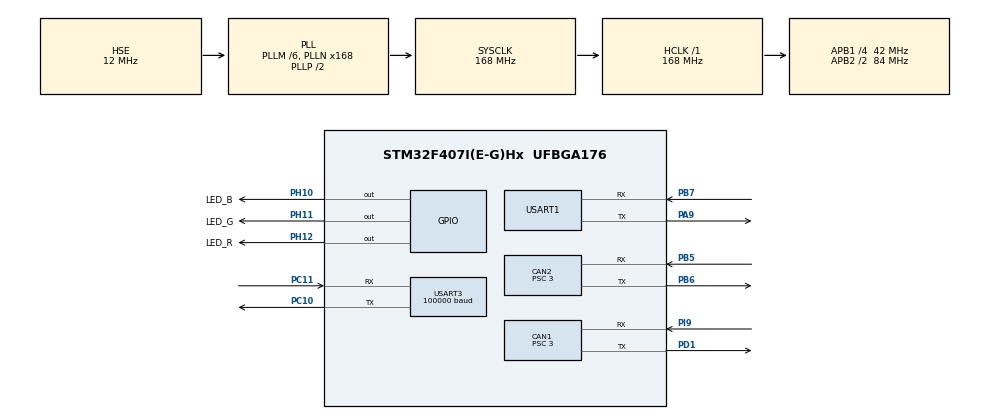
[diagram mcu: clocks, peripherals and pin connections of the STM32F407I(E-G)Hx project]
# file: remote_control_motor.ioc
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CAN1.BS1=CAN_BS1_10TQ
CAN1.BS2=CAN_BS2_3TQ
CAN1.CalculateBaudRate=1000000
CAN1.CalculateTimeBit=999.99
CAN1.CalculateTimeQuantum=71.42857142857143
CAN1.Prescaler=3
CAN2.BS1=CAN_BS1_10TQ
CAN2.BS2=CAN_BS2_3TQ
CAN2.CalculateBaudRate=1000000
CAN2.CalculateTimeBit=999.99
CAN2.CalculateTimeQuantum=71.42857142857143
CAN2.Prescaler=3
Dma.Request0=USART1_TX
Dma.Request1=USART3_RX
Dma.USART1_TX.0.Direction=DMA_MEMORY_TO_PERIPH
Dma.USART1_TX.0.FIFOMode=DMA_FIFOMODE_DISABLE
Dma.USART1_TX.0.Instance=DMA2_Stream7
Dma.USART1_TX.0.MemDataAlignment=DMA_MDATAALIGN_BYTE
Dma.USART1_TX.0.MemInc=DMA_MINC_ENABLE
Dma.USART1_TX.0.Mode=DMA_NORMAL
Dma.USART1_TX.0.PeriphDataAlignment=DMA_PDATAALIGN_BYTE
Dma.USART1_TX.0.PeriphInc=DMA_PINC_DISABLE
Dma.USART1_TX.0.Priority=DMA_PRIORITY_VERY_HIGH
Dma.USART3_RX.1.Direction=DMA_PERIPH_TO_MEMORY
Dma.USART3_RX.1.FIFOMode=DMA_FIFOMODE_DISABLE
Dma.USART3_RX.1.Instance=DMA1_Stream1
Dma.USART3_RX.1.MemDataAlignment=DMA_MDATAALIGN_BYTE
Dma.USART3_RX.1.MemInc=DMA_MINC_ENABLE
Dma.USART3_RX.1.Mode=DMA_NORMAL
Dma.USART3_RX.1.PeriphDataAlignment=DMA_PDATAALIGN_BYTE
Dma.USART3_RX.1.PeriphInc=DMA_PINC_DISABLE
Dma.USART3_RX.1.Priority=DMA_PRIORITY_VERY_HIGH
Mcu.Family=STM32F4
Mcu.Name=STM32F407I(E-G)Hx
Mcu.Package=UFBGA176
NVIC.CAN1_RX0_IRQn=true\:0\:0\:false\:false\:true\:true\:true
NVIC.CAN2_RX0_IRQn=true\:0\:0\:false\:false\:true\:true\:true
NVIC.DMA1_Stream1_IRQn=true\:0\:0\:false\:false\:true\:false\:true
NVIC.DMA2_Stream7_IRQn=true\:0\:0\:false\:false\:true\:false\:true
NVIC.PriorityGroup=NVIC_PRIORITYGROUP_4
NVIC.USART1_IRQn=true\:0\:0\:false\:false\:true\:true\:true
NVIC.USART3_IRQn=true\:0\:0\:false\:false\:true\:true\:true
PA13.Mode=Serial_Wire
PA13.Signal=SYS_JTMS-SWDIO
PA14.Mode=Serial_Wire
PA14.Signal=SYS_JTCK-SWCLK
PA9.GPIO_PuPd=GPIO_PULLUP
PA9.Mode=Asynchronous
PA9.Signal=USART1_TX
PB5.Mode=CAN_Activate
PB5.Signal=CAN2_RX
PB6.Mode=CAN_Activate
PB6.Signal=CAN2_TX
PB7.GPIO_PuPd=GPIO_PULLUP
PB7.Mode=Asynchronous
PB7.Signal=USART1_RX
PC10.GPIO_PuPd=GPIO_PULLUP
PC10.Mode=Asynchronous
PC10.Signal=USART3_TX
PC11.GPIO_PuPd=GPIO_PULLUP
PC11.Mode=Asynchronous
PC11.Signal=USART3_RX
PD1.Mode=CAN_Activate
PD1.Signal=CAN1_TX
PH0-OSC_IN.Mode=HSE-External-Oscillator
PH0-OSC_IN.Signal=RCC_OSC_IN
PH1-OSC_OUT.Mode=HSE-External-Oscillator
PH1-OSC_OUT.Signal=RCC_OSC_OUT
PH10.GPIO_Label=LED_B
PH10.GPIO_PuPd=GPIO_PULLUP
PH10.GPIO_Speed=GPIO_SPEED_FREQ_HIGH
PH10.PinState=GPIO_PIN_SET
PH10.Signal=GPIO_Output
PH11.GPIO_Label=LED_G
PH11.GPIO_ModeDefaultOutputPP=GPIO_MODE_OUTPUT_PP
PH11.GPIO_PuPd=GPIO_PULLUP
PH11.GPIO_Speed=GPIO_SPEED_FREQ_HIGH
PH11.PinState=GPIO_PIN_SET
PH11.Signal=GPIO_Output
PH12.GPIO_Label=LED_R
PH12.GPIO_PuPd=GPIO_PULLUP
PH12.GPIO_Speed=GPIO_SPEED_FREQ_HIGH
PH12.PinState=GPIO_PIN_SET
PH12.Signal=GPIO_Output
PI9.Mode=CAN_Activate
PI9.Signal=CAN1_RX
ProjectManager.HeapSize=0x200
ProjectManager.StackSize=0x400
ProjectManager.TargetToolchain=MDK-ARM V5.32
RCC.48MHZClocksFreq_Value=84000000
RCC.AHBFreq_Value=168000000
RCC.APB1CLKDivider=RCC_HCLK_DIV4
RCC.APB1Freq_Value=42000000
RCC.APB1TimFreq_Value=84000000
RCC.APB2CLKDivider=RCC_HCLK_DIV2
RCC.APB2Freq_Value=84000000
RCC.APB2TimFreq_Value=168000000
RCC.CortexFreq_Value=168000000
RCC.HCLKFreq_Value=168000000
RCC.HSE_VALUE=12000000
RCC.HSI_VALUE=16000000
RCC.LSE_VALUE=32768
RCC.PLLM=6
RCC.PLLN=168
RCC.PLLSourceVirtual=RCC_PLLSOURCE_HSE
RCC.SYSCLKFreq_VALUE=168000000
RCC.SYSCLKSource=RCC_SYSCLKSOURCE_PLLCLK
RCC.VCOOutputFreq_Value=336000000
USART1.VirtualMode=VM_ASYNC
USART3.BaudRate=100000
USART3.Mode=MODE_RX
USART3.Parity=PARITY_EVEN
USART3.VirtualMode=VM_ASYNC
board=custom

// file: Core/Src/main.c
/* USER CODE BEGIN Header */
/**
  ******************************************************************************
  * @file           : main.c
  * @brief          : Main program body
  ******************************************************************************
  * @attention
  *
  * <h2><center>&copy; Copyright (c) 2026 STMicroelectronics.
  * All rights reserved.</center></h2>
  *
  * This software component is licensed by ST under BSD 3-Clause license,
  * the "License"; You may not use this file except in compliance with the
  * License. You may obtain a copy of the License at:
  *                        opensource.org/licenses/BSD-3-Clause
  *
  ******************************************************************************
  */
/* USER CODE END Header */
#include "main.h"
#include "can.h"
#include "dma.h"
#include "usart.h"
#include "gpio.h"

/* USER CODE BEGIN Includes */
#include "remote_control.h"
#include "bsp_usart.h"
#include "bsp_can.h"
#include "CAN_receive.h"
#include "motor.h"
#include <stdio.h>
#include <stdarg.h>
#include "string.h"
/* USER CODE END Includes */

void SystemClock_Config(void);

/* USER CODE BEGIN 0 */
const RC_ctrl_t *local_rc_ctrl;

void usart_printf(const char *fmt,...)
{
    static uint8_t tx_buf[256] = {0};
    static va_list ap;
    static uint16_t len;
    va_start(ap, fmt);

    //return length of string
    //返回字符串长度
    len = vsprintf((char *)tx_buf, fmt, ap);

    va_end(ap);

    usart1_tx_dma_enable(tx_buf, len);

}
/* USER CODE END 0 */

int main(void)
{

  /* MCU Configuration--------------------------------------------------------*/

  /* Reset of all peripherals, Initializes the Flash interface and the Systick. */
  HAL_Init();

  /* Configure the system clock */
  SystemClock_Config();

  /* Initialize all configured peripherals */
  MX_GPIO_Init();
  MX_CAN1_Init();
  MX_CAN2_Init();
  MX_USART1_UART_Init();
  MX_DMA_Init();
  MX_USART3_UART_Init();
  /* USER CODE BEGIN 2 */
	  can_filter_init();
    remote_control_init();
    usart1_tx_dma_init();
		chassis_motor_init();
    local_rc_ctrl = get_remote_control_point();
  /* USER CODE END 2 */

  /* Infinite loop */
  /* USER CODE BEGIN WHILE */
	char test[] = "Hello!\r\n";
  HAL_UART_Transmit(&huart1, (uint8_t*)test, strlen(test), 100);
  while (1)
  {
    /* USER CODE END WHILE */

    /* USER CODE BEGIN 3 */
		 chassis_motor_drive();
		 HAL_Delay(5);
		//CAN_cmd_gimbal(10000, 0, 0, 0);
		 gimbal_motor_drive();
		 HAL_Delay(5);
		    //CAN_cmd_chassis(500, 500, 500, 500);
        //HAL_Delay(2);
        //CAN_cmd_gimbal(10000, 10000, 10000, 10000);
        //HAL_Delay(2);
  }
  /* USER CODE END 3 */
}

void SystemClock_Config(void)
{
  RCC_OscInitTypeDef RCC_OscInitStruct = {0};
  RCC_ClkInitTypeDef RCC_ClkInitStruct = {0};

  /** Configure the main internal regulator output voltage
  */
  __HAL_RCC_PWR_CLK_ENABLE();
  __HAL_PWR_VOLTAGESCALING_CONFIG(PWR_REGULATOR_VOLTAGE_SCALE1);
  /** Initializes the RCC Oscillators according to the specified parameters
  * in the RCC_OscInitTypeDef structure.
  */
  RCC_OscInitStruct.OscillatorType = RCC_OSCILLATORTYPE_HSE;
  RCC_OscInitStruct.HSEState = RCC_HSE_ON;
  RCC_OscInitStruct.PLL.PLLState = RCC_PLL_ON;
  RCC_OscInitStruct.PLL.PLLSource = RCC_PLLSOURCE_HSE;
  RCC_OscInitStruct.PLL.PLLM = 6;
  RCC_OscInitStruct.PLL.PLLN = 168;
  RCC_OscInitStruct.PLL.PLLP = RCC_PLLP_DIV2;
  RCC_OscInitStruct.PLL.PLLQ = 4;
  if (HAL_RCC_OscConfig(&RCC_OscInitStruct) != HAL_OK)
  {
    Error_Handler();
  }
  /** Initializes the CPU, AHB and APB buses clocks
  */
  RCC_ClkInitStruct.ClockType = RCC_CLOCKTYPE_HCLK|RCC_CLOCKTYPE_SYSCLK
                              |RCC_CLOCKTYPE_PCLK1|RCC_CLOCKTYPE_PCLK2;
  RCC_ClkInitStruct.SYSCLKSource = RCC_SYSCLKSOURCE_PLLCLK;
  RCC_ClkInitStruct.AHBCLKDivider = RCC_SYSCLK_DIV1;
  RCC_ClkInitStruct.APB1CLKDivider = RCC_HCLK_DIV4;
  RCC_ClkInitStruct.APB2CLKDivider = RCC_HCLK_DIV2;

  if (HAL_RCC_ClockConfig(&RCC_ClkInitStruct, FLASH_LATENCY_5) != HAL_OK)
  {
    Error_Handler();
  }
}

void Error_Handler(void)
{
  __disable_irq();
  while (1)
  {
  }
}

/************************ (C) COPYRIGHT STMicroelectronics *****END OF FILE****/
